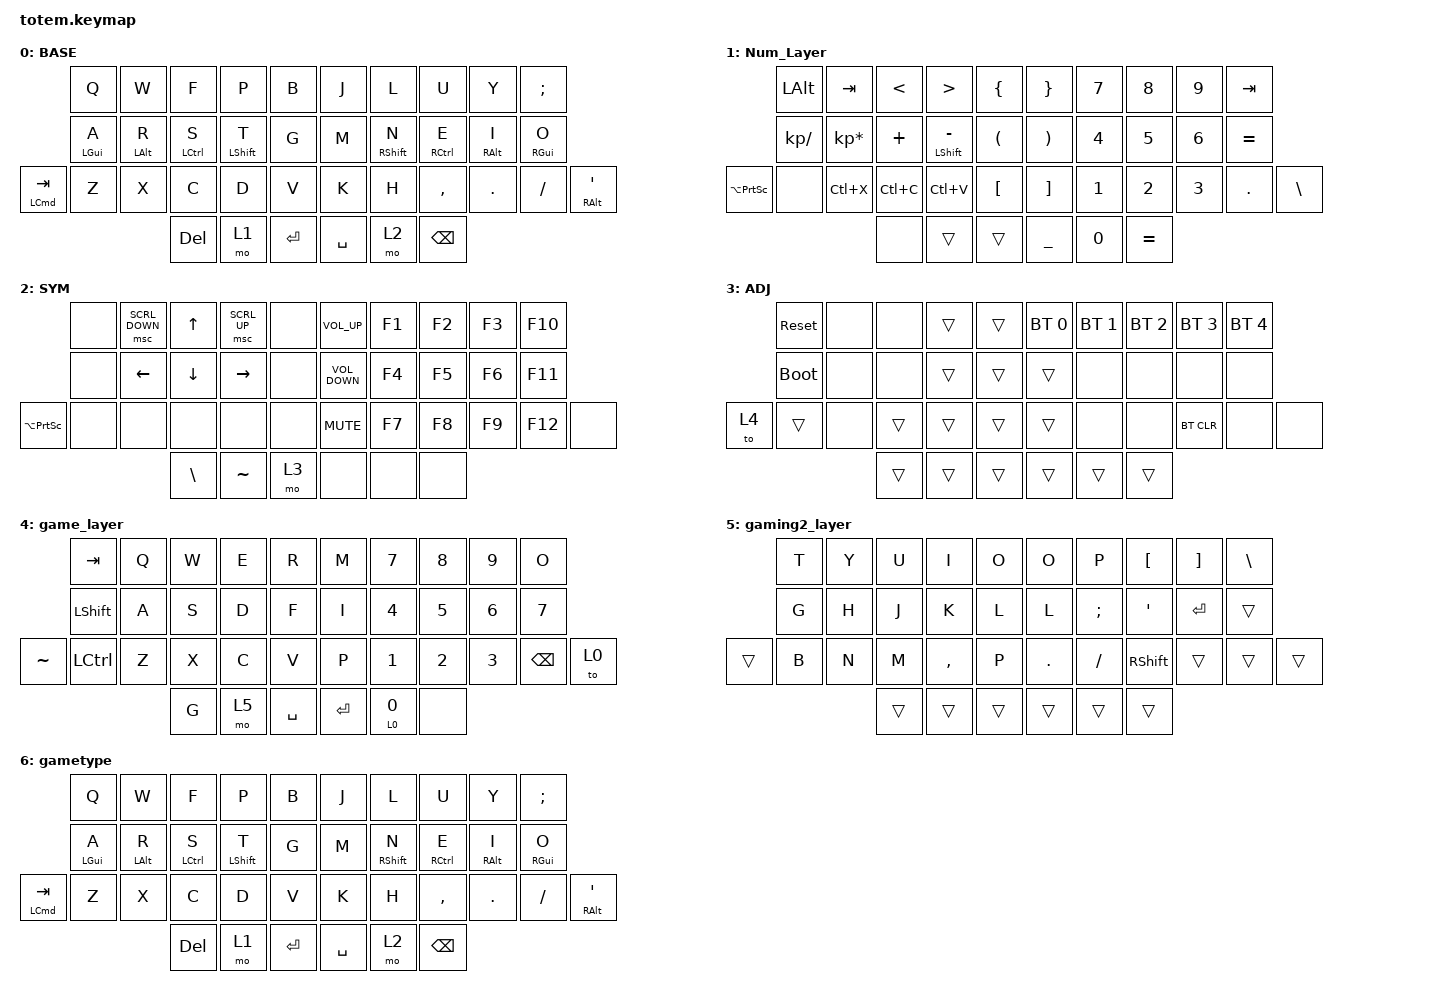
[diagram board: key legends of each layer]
//
//                                                        ▀▀▀▀▀     ▀▀▀▀▀          ▀▀█▀▀
//                                                        ▄▀▀▀▄  ▄  ▄▀▀▀▄  ▄  ▄▀▀▀▄  █  ▄▀▀▀▄
//                                                        █   █  █  █   █  █  █   █  █  █   █
//                                                         ▀▀▀   █   ▀▀▀   █   ▀▀▀   ▀   ▀▀▀
//                                                               █      ▄▄▄█▄▄▄    █   █  
//                                                               ▀      █  █  █     █▄█
//                                                             ▀▀▀▀▀    █  █  █      ▀
//                                                                      ▀  ▀  ▀
//
// ▄▄▄▄▄▄▄▄▄▄▄▄▄▄▄▄▄▄▄▄▄▄▄▄▄▄▄▄▄▄▄▄▄▄▄▄▄▄▄▄▄▄▄▄▄▄▄▄▄▄▄▄▄▄▄▄▄▄▄▄▄▄▄▄▄▄▄▄▄▄▄▄▄▄▄▄▄▄▄▄▄▄▄▄▄▄▄▄▄▄▄▄▄▄▄▄▄▄▄▄▄▄▄▄▄▄▄▄▄▄▄▄▄▄▄▄▄▄▄▄▄▄▄▄▄▄▄▄▄▄▄▄▄▄▄▄▄▄▄▄▄▄▄▄▄▄▄▄▄

#include <behaviors.dtsi>
#include <dt-bindings/zmk/bt.h>
#include <dt-bindings/zmk/keys.h>
#include <dt-bindings/zmk/pointing.h>

#define BASE 0
#define NAV  1
#define SYM  2
#define ADJ  3
#define TVP1 4
#define TVP2 5

&mt {
    quick-tap-ms = <100>;
    global-quick-tap;
    flavor = "tap-preferred";
    tapping-term-ms = <220>;
};

/ {
    combos {
        compatible = "zmk,combos";

        combo_esc {
            timeout-ms = <50>;
            key-positions = <0 1>;
            bindings = <&kp ESC>;
        };

        capslock {
            bindings = <&kt CAPSLOCK>;
            key-positions = <8 9>;
        };

        apostrophe {
            bindings = <&kp APOSTROPHE>;
            key-positions = <6 7>;
        };

        shift {
            bindings = <&kp LEFT_SHIFT>;
            key-positions = <13 12 11>;
            layers = <1 0 2 3>;
        };

        rshift {
            bindings = <&kp RIGHT_SHIFT>;
            key-positions = <16 17 18>;
            layers = <1 0 2 3>;
        };

        leftcontrol {
            bindings = <&kp LEFT_CONTROL>;
            key-positions = <22 24 23>;
        };

        rightcontrol {
            bindings = <&kp RIGHT_CONTROL>;
            key-positions = <27 27 28 29>;
        };

        capsword {
            bindings = <&caps_word>;
            key-positions = <13 16 12 17>;
        };
    };

    macros {
        gif: gif {
            label = "giphy";
            compatible = "zmk,behavior-macro";
            #binding-cells = <0>;
            bindings =
                <&macro_press>,
                <&kp LSHFT>,
                <&macro_tap>,
                <&kp N2>,
                <&macro_release>,
                <&kp LSHFT>,
                <&macro_tap>,
                <&kp G &kp I &kp F>;
        };
    };

    keymap {
        compatible = "zmk,keymap";

        // ▄▄▄▄▄▄▄▄▄▄▄▄▄▄▄▄▄▄▄▄▄▄▄▄▄▄▄▄▄▄▄▄▄▄▄▄▄▄▄▄▄▄▄▄▄▄▄▄▄▄▄▄▄▄▄▄▄▄▄▄▄▄▄▄▄▄▄▄▄▄▄▄▄▄▄▄▄▄▄▄▄▄▄▄▄▄▄▄▄▄▄▄▄▄▄▄▄▄▄▄▄▄▄▄▄▄▄▄▄▄▄▄▄▄▄▄▄▄▄▄▄▄▄▄▄▄▄▄▄▄▄▄▄▄▄▄▄▄▄▄▄▄▄▄▄▄▄▄▄

        base_layer {
            // ┏━━━━━━━━━━━━━━━━━━━━━━━━━━━━━━━━━━━━━━━┓

            label = "BASE";

            // ┗━━━━━━━━━━━━━━━━━━━━━━━━━━━━━━━━━━━━━━━┛
            //             ┏━━━━━━━━━━━┳━━━━━━━━━━━┳━━━━━━━━━━━┳━━━━━━━━━━━┳━━━━━━━━━━━┓   ┏━━━━━━━━━━━┳━━━━━━━━━━━┳━━━━━━━━━━━┳━━━━━━━━━━━┳━━━━━━━━━━━┓
            //             ┃     Q     ┃     W     ┃     F     ┃     P     ┃     B     ┃   ┃     J     ┃     L     ┃     U     ┃     Y     ┃     ;     ┃
            //             ┣━━━━━━━━━━━╋━━━━━━━━━━━╋━━━━━━━━━━━╋━━━━━━━━━━━╋━━━━━━━━━━━┫   ┣━━━━━━━━━━━╋━━━━━━━━━━━╋━━━━━━━━━━━╋━━━━━━━━━━━╋━━━━━━━━━━━┫
            //             ┃     A     ┃     R     ┃     S     ┃     T     ┃     G     ┃   ┃     M     ┃     N     ┃     E     ┃     I     ┃     O     ┃
            // ┏━━━━━━━━━━━╋━━━━━━━━━━━╋━━━━━━━━━━━╋━━━━━━━━━━━╋━━━━━━━━━━━╋━━━━━━━━━━━┫   ┣━━━━━━━━━━━╋━━━━━━━━━━━╋━━━━━━━━━━━╋━━━━━━━━━━━╋━━━━━━━━━━━╋━━━━━━━━━━━┓
            // ┃     Q     ┃     Z     ┃     X     ┃     C     ┃     D     ┃     V     ┃   ┃     K     ┃     H     ┃     ,     ┃     .     ┃     /     ┃     \     ┃
            // ┗━━━━━━━━━━━┻━━━━━━━━━━━┻━━━━━━━━━━━╋━━━━━━━━━━━╋━━━━━━━━━━━╋━━━━━━━━━━━┫   ┣━━━━━━━━━━━╋━━━━━━━━━━━╋━━━━━━━━━━━╋━━━━━━━━━━━┻━━━━━━━━━━━┻━━━━━━━━━━━┛
            //                                     ┃    DEL    ┃    TAB    ┃    SPC    ┃   ┃   ENTER   ┃           ┃   BSPC    ┃
            //                                     ┗━━━━━━━━━━━┻━━━━━━━━━━━┻━━━━━━━━━━━┛   ┗━━━━━━━━━━━┻━━━━━━━━━━━┻━━━━━━━━━━━┛

            bindings = <
              &kp Q           &kp W           &kp F        &kp P             &kp B      &kp J      &kp L        &kp U        &kp Y            &kp SEMI
              &mt LEFT_GUI A  &mt LEFT_ALT R  &mt LCTRL S  &mt LEFT_SHIFT T  &kp G      &kp M      &mt RSHFT N  &mt RCTRL E  &mt RIGHT_ALT I  &mt RIGHT_GUI O
&mt LCMD TAB  &kp Z           &kp X           &kp C        &kp D             &kp V      &kp K      &kp H        &kp COMMA    &kp DOT          &kp FSLH         &mt RIGHT_ALT SQT
                                              &kp DEL      &mo 1             &kp RET    &kp SPACE  &mo 2        &kp BSPC
            >;
        };

        // ▄▄▄▄▄▄▄▄▄▄▄▄▄▄▄▄▄▄▄▄▄▄▄▄▄▄▄▄▄▄▄▄▄▄▄▄▄▄▄▄▄▄▄▄▄▄▄▄▄▄▄▄▄▄▄▄▄▄▄▄▄▄▄▄▄▄▄▄▄▄▄▄▄▄▄▄▄▄▄▄▄▄▄▄▄▄▄▄▄▄▄▄▄▄▄▄▄▄▄▄▄▄▄▄▄▄▄▄▄▄▄▄▄▄▄▄▄▄▄▄▄▄▄▄▄▄▄▄▄▄▄▄▄▄▄▄▄▄▄▄▄▄▄▄▄▄▄▄▄

        num_Layer {
            // ┏━━━━━━━━━━━━━━━━━━━━━━━━━━━━━━━━━━━━━━━┓

            label = "Num_Layer";

            // ┗━━━━━━━━━━━━━━━━━━━━━━━━━━━━━━━━━━━━━━━┛
            //             ┏━━━━━━━━━━━┳━━━━━━━━━━━┳━━━━━━━━━━━┳━━━━━━━━━━━┳━━━━━━━━━━━┓   ┏━━━━━━━━━━━┳━━━━━━━━━━━┳━━━━━━━━━━━┳━━━━━━━━━━━┳━━━━━━━━━━━┓
            //             ┃           ┃           ┃     UP    ┃           ┃     {     ┃   ┃     }     ┃     7     ┃     8     ┃     9     ┃     +     ┃
            //             ┣━━━━━━━━━━━╋━━━━━━━━━━━╋━━━━━━━━━━━╋━━━━━━━━━━━╋━━━━━━━━━━━┫   ┣━━━━━━━━━━━╋━━━━━━━━━━━╋━━━━━━━━━━━╋━━━━━━━━━━━╋━━━━━━━━━━━┫
            //             ┃   SHIFT   ┃   LEFT    ┃    DOWN   ┃   RIGHT   ┃     [     ┃   ┃     ]     ┃     4     ┃     5     ┃     6     ┃     -     ┃
            // ┏━━━━━━━━━━━╋━━━━━━━━━━━╋━━━━━━━━━━━╋━━━━━━━━━━━╋━━━━━━━━━━━╋━━━━━━━━━━━┫   ┣━━━━━━━━━━━╋━━━━━━━━━━━╋━━━━━━━━━━━╋━━━━━━━━━━━╋━━━━━━━━━━━╋━━━━━━━━━━━┓
            // ┃           ┃           ┃   P UP    ┃  C LOCK   ┃  P DOWN   ┃     (     ┃   ┃     )     ┃     1     ┃     2     ┃     3     ┃     *     ┃           ┃
            // ┗━━━━━━━━━━━┻━━━━━━━━━━━┻━━━━━━━━━━━╋━━━━━━━━━━━╋━━━━━━━━━━━╋━━━━━━━━━━━┫   ┣━━━━━━━━━━━╋━━━━━━━━━━━╋━━━━━━━━━━━╋━━━━━━━━━━━┻━━━━━━━━━━━┻━━━━━━━━━━━┛
            //                                     ┃           ┃    TAB    ┃    SPC    ┃   ┃    DEL    ┃     0     ┃           ┃
            //                                     ┗━━━━━━━━━━━┻━━━━━━━━━━━┻━━━━━━━━━━━┛   ┗━━━━━━━━━━━┻━━━━━━━━━━━┻━━━━━━━━━━━┛

            bindings = <
                     &kp LALT       &kp TAB          &kp LESS_THAN  &kp GREATER_THAN      &kp LBRC                &kp RBRC               &kp N7        &kp N8     &kp N9  &kp TAB
                     &kp KP_DIVIDE  &kp KP_MULTIPLY  &kp PLUS       &mt LEFT_SHIFT MINUS  &kp LEFT_PARENTHESIS    &kp RIGHT_PARENTHESIS  &kp N4        &kp N5     &kp N6  &kp EQUAL
&kp LA(PRINTSCREEN)  &none          &kp LC(X)        &kp LC(C)      &kp LC(V)             &kp LEFT_BRACKET        &kp RIGHT_BRACKET      &kp NUMBER_1  &kp N2     &kp N3  &kp PERIOD  &kp BACKSLASH
                                                     &none          &trans                &trans                  &kp UNDERSCORE         &kp N0        &kp EQUAL
            >;
        };

        // ▄▄▄▄▄▄▄▄▄▄▄▄▄▄▄▄▄▄▄▄▄▄▄▄▄▄▄▄▄▄▄▄▄▄▄▄▄▄▄▄▄▄▄▄▄▄▄▄▄▄▄▄▄▄▄▄▄▄▄▄▄▄▄▄▄▄▄▄▄▄▄▄▄▄▄▄▄▄▄▄▄▄▄▄▄▄▄▄▄▄▄▄▄▄▄▄▄▄▄▄▄▄▄▄▄▄▄▄▄▄▄▄▄▄▄▄▄▄▄▄▄▄▄▄▄▄▄▄▄▄▄▄▄▄▄▄▄▄▄▄▄▄▄▄▄▄▄▄▄

        sim_layer {
            // ┏━━━━━━━━━━━━━━━━━━━━━━━━━━━━━━━━━━━━━━━┓

            label = "SYM";

            // ┗━━━━━━━━━━━━━━━━━━━━━━━━━━━━━━━━━━━━━━━┛
            //             ┏━━━━━━━━━━━┳━━━━━━━━━━━┳━━━━━━━━━━━┳━━━━━━━━━━━┳━━━━━━━━━━━┓   ┏━━━━━━━━━━━┳━━━━━━━━━━━┳━━━━━━━━━━━┳━━━━━━━━━━━┳━━━━━━━━━━━┓
            //             ┃     !     ┃     @     ┃     #     ┃     $     ┃     %     ┃   ┃     ˆ     ┃     &     ┃     Ü     ┃     '     ┃     "     ┃
            //             ┣━━━━━━━━━━━╋━━━━━━━━━━━╋━━━━━━━━━━━╋━━━━━━━━━━━╋━━━━━━━━━━━┫   ┣━━━━━━━━━━━╋━━━━━━━━━━━╋━━━━━━━━━━━╋━━━━━━━━━━━╋━━━━━━━━━━━┫
            //             ┃     Ä     ┃           ┃    SZ     ┃           ┃           ┃   ┃   MUTE    ┃   YEN     ┃   EURO    ┃  POUND    ┃     Ö     ┃
            // ┏━━━━━━━━━━━╋━━━━━━━━━━━╋━━━━━━━━━━━╋━━━━━━━━━━━╋━━━━━━━━━━━╋━━━━━━━━━━━┫   ┣━━━━━━━━━━━╋━━━━━━━━━━━╋━━━━━━━━━━━╋━━━━━━━━━━━╋━━━━━━━━━━━╋━━━━━━━━━━━┓
            // ┃           ┃  EMAIL1   ┃  EMAIL2   ┃           ┃           ┃           ┃   ┃   VOL-    ┃   VOL+    ┃   LAST    ┃   NEXT    ┃     \     ┃           ┃
            // ┗━━━━━━━━━━━┻━━━━━━━━━━━┻━━━━━━━━━━━╋━━━━━━━━━━━╋━━━━━━━━━━━╋━━━━━━━━━━━┫   ┣━━━━━━━━━━━╋━━━━━━━━━━━╋━━━━━━━━━━━╋━━━━━━━━━━━┻━━━━━━━━━━━┻━━━━━━━━━━━┛
            //                                     ┃           ┃    GIF    ┃    ADJ    ┃   ┃           ┃           ┃           ┃
            //                                     ┗━━━━━━━━━━━┻━━━━━━━━━━━┻━━━━━━━━━━━┛   ┗━━━━━━━━━━━┻━━━━━━━━━━━┻━━━━━━━━━━━┛

            bindings = <
                     &none  &msc SCRL_DOWN  &kp UP_ARROW   &msc SCRL_UP  &none    &kp K_VOLUME_UP    &kp F1  &kp F2  &kp F3  &kp F10
                     &none  &kp LEFT_ARROW  &kp DOWN       &kp RIGHT     &none    &kp K_VOLUME_DOWN  &kp F4  &kp F5  &kp F6  &kp F11
&kp LA(PRINTSCREEN)  &none  &none           &none          &none         &none    &kp K_MUTE         &kp F7  &kp F8  &kp F9  &kp F12  &none
                                            &kp BACKSLASH  &kp TILDE     &mo 3    &none              &none   &none
            >;
        };

        // ▄▄▄▄▄▄▄▄▄▄▄▄▄▄▄▄▄▄▄▄▄▄▄▄▄▄▄▄▄▄▄▄▄▄▄▄▄▄▄▄▄▄▄▄▄▄▄▄▄▄▄▄▄▄▄▄▄▄▄▄▄▄▄▄▄▄▄▄▄▄▄▄▄▄▄▄▄▄▄▄▄▄▄▄▄▄▄▄▄▄▄▄▄▄▄▄▄▄▄▄▄▄▄▄▄▄▄▄▄▄▄▄▄▄▄▄▄▄▄▄▄▄▄▄▄▄▄▄▄▄▄▄▄▄▄▄▄▄▄▄▄▄▄▄▄▄▄▄▄

        adjust_layer {
            // ┏━━━━━━━━━━━━━━━━━━━━━━━━━━━━━━━━━━━━━━━┓

            label = "ADJ";

            // ┗━━━━━━━━━━━━━━━━━━━━━━━━━━━━━━━━━━━━━━━┛
            //             ┏━━━━━━━━━━━┳━━━━━━━━━━━┳━━━━━━━━━━━┳━━━━━━━━━━━┳━━━━━━━━━━━┓   ┏━━━━━━━━━━━┳━━━━━━━━━━━┳━━━━━━━━━━━┳━━━━━━━━━━━┳━━━━━━━━━━━┓
            //             ┃   RESET   ┃ BT CLEAR  ┃  OUT TOG  ┃           ┃           ┃   ┃           ┃    F7     ┃    F8     ┃    F9     ┃    F12    ┃
            //             ┣━━━━━━━━━━━╋━━━━━━━━━━━╋━━━━━━━━━━━╋━━━━━━━━━━━╋━━━━━━━━━━━┫   ┣━━━━━━━━━━━╋━━━━━━━━━━━╋━━━━━━━━━━━╋━━━━━━━━━━━╋━━━━━━━━━━━┫
            //             ┃ BOOTLOAD  ┃ BT NEXT   ┃           ┃           ┃           ┃   ┃           ┃    F4     ┃    F5     ┃    F6     ┃    F11    ┃
            // ┏━━━━━━━━━━━╋━━━━━━━━━━━╋━━━━━━━━━━━╋━━━━━━━━━━━╋━━━━━━━━━━━╋━━━━━━━━━━━┫   ┣━━━━━━━━━━━╋━━━━━━━━━━━╋━━━━━━━━━━━╋━━━━━━━━━━━╋━━━━━━━━━━━╋━━━━━━━━━━━┓
            // ┃           ┃           ┃ BT PREV   ┃           ┃           ┃           ┃   ┃           ┃    F1     ┃    F2     ┃    F3     ┃    F10    ┃           ┃
            // ┗━━━━━━━━━━━┻━━━━━━━━━━━┻━━━━━━━━━━━╋━━━━━━━━━━━╋━━━━━━━━━━━╋━━━━━━━━━━━┫   ┣━━━━━━━━━━━╋━━━━━━━━━━━╋━━━━━━━━━━━╋━━━━━━━━━━━┻━━━━━━━━━━━┻━━━━━━━━━━━┛
            //                                     ┃           ┃           ┃           ┃   ┃           ┃           ┃           ┃
            //                                     ┗━━━━━━━━━━━┻━━━━━━━━━━━┻━━━━━━━━━━━┛   ┗━━━━━━━━━━━┻━━━━━━━━━━━┻━━━━━━━━━━━┛

            bindings = <
       &sys_reset   &none  &none   &trans  &trans    &bt BT_SEL 0  &bt BT_SEL 1  &bt BT_SEL 2  &bt BT_SEL 3  &bt BT_SEL 4
       &bootloader  &none  &none   &trans  &trans    &trans        &none         &none         &none         &none
&to 4  &trans       &none  &trans  &trans  &trans    &trans        &none         &none         &bt BT_CLR    &none         &none
                           &trans  &trans  &trans    &trans        &trans        &trans
            >;
        };

        game_layer {
            bindings = <
           &kp TAB    &kp Q  &kp W  &kp E  &kp R        &kp M      &kp N7    &kp N8  &kp N9  &kp O
           &kp LSHFT  &kp A  &kp S  &kp D  &kp F        &kp I      &kp N4    &kp N5  &kp N6  &kp N7
&kp TILDE  &kp LCTRL  &kp Z  &kp X  &kp C  &kp V        &kp P      &kp N1    &kp N2  &kp N3  &kp BSPC  &to 0
                             &kp G  &mo 5  &kp SPACE    &kp ENTER  &lt 0 N0  &none
            >;
        };

        gaming2_layer {
            bindings = <
        &kp T  &kp Y  &kp U   &kp I      &kp O     &kp O    &kp P     &kp LBKT   &kp RBKT   &kp BSLH
        &kp G  &kp H  &kp J   &kp K      &kp L     &kp L    &kp SEMI  &kp APOS   &kp ENTER  &trans
&trans  &kp B  &kp N  &kp M   &kp COMMA  &kp P     &kp DOT  &kp FSLH  &kp RSHFT  &trans     &trans    &trans
                      &trans  &trans     &trans    &trans   &trans    &trans
            >;
        };

        layer_7 {
            label = "gametype";
            bindings = <
              &kp Q           &kp W           &kp F        &kp P             &kp B      &kp J      &kp L        &kp U        &kp Y            &kp SEMI
              &mt LEFT_GUI A  &mt LEFT_ALT R  &mt LCTRL S  &mt LEFT_SHIFT T  &kp G      &kp M      &mt RSHFT N  &mt RCTRL E  &mt RIGHT_ALT I  &mt RIGHT_GUI O
&mt LCMD TAB  &kp Z           &kp X           &kp C        &kp D             &kp V      &kp K      &kp H        &kp COMMA    &kp DOT          &kp FSLH         &mt RIGHT_ALT SQT
                                              &kp DEL      &mo 1             &kp RET    &kp SPACE  &mo 2        &kp BSPC
            >;
        };

        // ▄▄▄▄▄▄▄▄▄▄▄▄▄▄▄▄▄▄▄▄▄▄▄▄▄▄▄▄▄▄▄▄▄▄▄▄▄▄▄▄▄▄▄▄▄▄▄▄▄▄▄▄▄▄▄▄▄▄▄▄▄▄▄▄▄▄▄▄▄▄▄▄▄▄▄▄▄▄▄▄▄▄▄▄▄▄▄▄▄▄▄▄▄▄▄▄▄▄▄▄▄▄▄▄▄▄▄▄▄▄▄▄▄▄▄▄▄▄▄▄▄▄▄▄▄▄▄▄▄▄▄▄▄▄▄▄▄▄▄▄▄▄▄▄▄▄▄▄▄
        // ▄▄▄▄▄▄▄▄▄▄▄▄▄▄▄▄▄▄▄▄▄▄▄▄▄▄▄▄▄▄▄▄▄▄▄▄▄▄▄▄▄▄▄▄▄▄▄▄▄▄▄▄▄▄▄▄▄▄▄▄▄▄▄▄▄▄▄▄▄▄▄▄▄▄▄▄▄▄▄▄▄▄▄▄▄▄▄▄▄▄▄▄▄▄▄▄▄▄▄▄▄▄▄▄▄▄▄▄▄▄▄▄▄▄▄▄▄▄▄▄▄▄▄▄▄▄▄▄▄▄▄▄▄▄▄▄▄▄▄▄▄▄▄▄▄▄▄▄▄
    };
};
